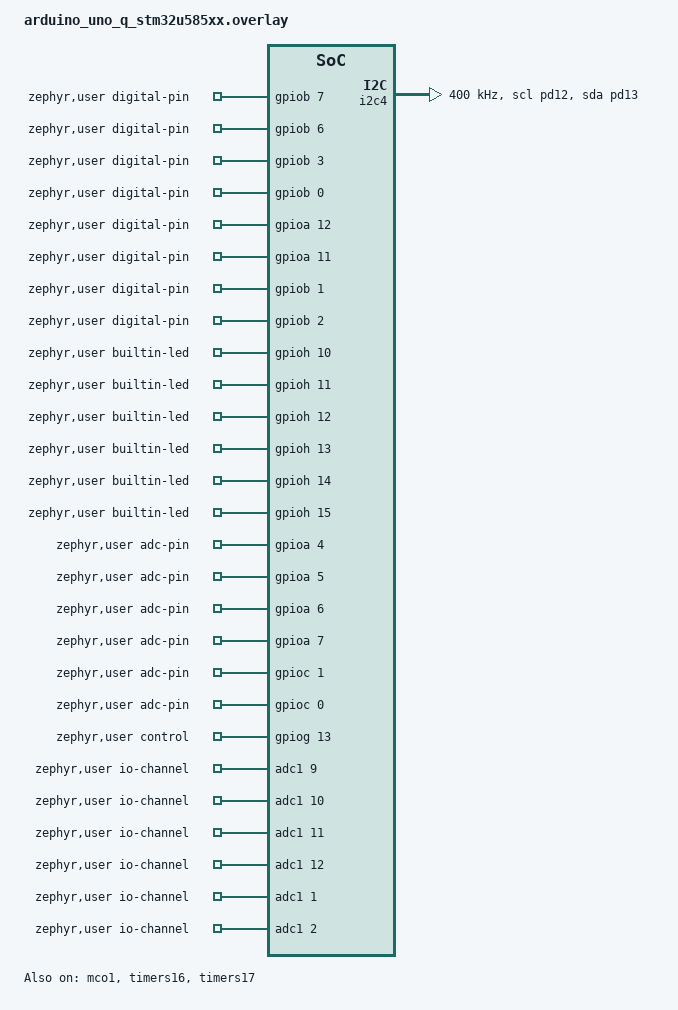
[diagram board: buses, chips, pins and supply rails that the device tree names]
&i2c4 {
	status = "okay";
	pinctrl-0 = <&i2c4_scl_pd12 &i2c4_sda_pd13>;
	pinctrl-1 = <&i2c4_scl_pf14 &i2c4_sda_pf15>;
	pinctrl-names = "default", "sleep"; /* TODO: sleep is jmisc mux */
	clock-frequency = <I2C_BITRATE_FAST>;

/*
	gc2145: gc2145@3c {
		status = "okay";
		compatible = "galaxycore,gc2145";
		reg = <0x3c>;
		reset-gpios = <&gpioa 10 GPIO_ACTIVE_LOW>;
		pwdn-gpios = <&gpiod 2 GPIO_ACTIVE_LOW>;

		port {
			gc2145_ep_out: endpoint {
				remote-endpoint = <&dcmi_ep_in>;
			};
		};
	};
*/
};

/* clock from HSI48 */
&mco1 {
	status = "okay";
	clocks = <&rcc STM32_SRC_HSI48 MCO1_SEL(8)>;
	prescaler = <MCO1_PRE(MCO_PRE_DIV_4)>;
	pinctrl-0 = <&rcc_mco_pa8>;
	pinctrl-names = "default";
};

/*
&dcmi {
	status = "okay";
	pinctrl-0 = <&dcmi_hsync_pd8 &dcmi_pixclk_pd9 &dcmi_vsync_pi5
				&dcmi_d0_pc6 &dcmi_d1_pc7 &dcmi_d2_pc8 &dcmi_d3_pc9
				&dcmi_d4_pe4 &dcmi_d5_pi4 &dcmi_d6_pi6 &dcmi_d7_pi7>;
	pinctrl-names = "default";
	dmas = <&gpdma1 12 86 (STM32_DMA_PERIPH_TO_MEMORY | STM32_DMA_PERIPH_NO_INC |
			STM32_DMA_MEM_INC | STM32_DMA_PERIPH_32BITS | STM32_DMA_MEM_32BITS |
			STM32_DMA_PRIORITY_HIGH) STM32_DMA_FIFO_1_4>;

	port {
		dcmi_ep_in: endpoint {
			remote-endpoint-label = "gc2145_ep_out";
			bus-width = <8>;
			hsync-active = <0>;
			vsync-active = <0>;
			pclk-sample = <0>;
		};
	};
};
*/

&flash0 {
	partitions {
		bootanimation: partition@90000 {
			reg = <0x090000 DT_SIZE_K(64)>;
		};
		user_sketch: partition@f0000 {
			reg = <0x0F0000 DT_SIZE_K(64)>;
		};
	};
};

&timers16 {
	status = "okay";
	st,prescaler = <4>;

	counter_servo: counter {
		status = "okay";
		label = "SERVO_COUNTER";
	};
};


&timers17 {
	status = "okay";
	st,prescaler = <4>;

	counter_matrix: counter {
		status = "okay";
		label = "LED_MATRIX_COUNTER";
	};
};

/ {
	zephyr,user {
		digital-pin-gpios = <&gpiob 7 GPIO_ACTIVE_HIGH>,        /* JDIGITAL */
				    <&gpiob 6 GPIO_ACTIVE_HIGH>,
				    <&gpiob 3 GPIO_ACTIVE_HIGH>,
				    <&gpiob 0 GPIO_ACTIVE_HIGH>,
				    <&gpioa 12 GPIO_ACTIVE_HIGH>,
				    <&gpioa 11 GPIO_ACTIVE_HIGH>,
				    <&gpiob 1 GPIO_ACTIVE_HIGH>,
				    <&gpiob 2 GPIO_ACTIVE_HIGH>,
				    <&gpiob 4 GPIO_ACTIVE_HIGH>,
				    <&gpiob 8 GPIO_ACTIVE_HIGH>,
				    <&gpiob 9 GPIO_ACTIVE_HIGH>,
				    <&gpiob 15 GPIO_ACTIVE_HIGH>,
				    <&gpiob 14 GPIO_ACTIVE_HIGH>,
				    <&gpiob 13 GPIO_ACTIVE_HIGH>,

				    <&gpioa 4 GPIO_ACTIVE_HIGH>,	/* ADCs */
				    <&gpioa 5 GPIO_ACTIVE_HIGH>,
				    <&gpioa 6 GPIO_ACTIVE_HIGH>,
				    <&gpioa 7 GPIO_ACTIVE_HIGH>,
				    <&gpioc 1 GPIO_ACTIVE_HIGH>,
				    <&gpioc 0 GPIO_ACTIVE_HIGH>,

				    <&gpiob 11 GPIO_ACTIVE_HIGH>,  /* D20 - PB11 */
				    <&gpiob 10 GPIO_ACTIVE_HIGH>,  /* D21 - PB10 */

				    <&gpioc 2 GPIO_ACTIVE_HIGH>,        /* JSPI */
				    <&gpioc 3 GPIO_ACTIVE_HIGH>,
				    <&gpiod 1 GPIO_ACTIVE_HIGH>,

				    <&gpioc 6 GPIO_ACTIVE_HIGH>,	/* JMISC */
				    <&gpiod 2 GPIO_ACTIVE_HIGH>,
				    <&gpioc 7 GPIO_ACTIVE_HIGH>,
				    <&gpioe 2 GPIO_ACTIVE_HIGH>,
				    <&gpioc 8 GPIO_ACTIVE_HIGH>,
				    <&gpioe 3 GPIO_ACTIVE_HIGH>,
				    <&gpioc 9 GPIO_ACTIVE_HIGH>,
				    <&gpioe 5 GPIO_ACTIVE_HIGH>,
				    <&gpioe 4 GPIO_ACTIVE_HIGH>,
				    <&gpioe 6 GPIO_ACTIVE_HIGH>,
				    <&gpioi 4 GPIO_ACTIVE_HIGH>,
				    <&gpioe 7 GPIO_ACTIVE_HIGH>,
				    <&gpioi 6 GPIO_ACTIVE_HIGH>,
				    <&gpioe 8 GPIO_ACTIVE_HIGH>,
				    <&gpioi 7 GPIO_ACTIVE_HIGH>,
				    <&gpiof 14 GPIO_ACTIVE_HIGH>,
				    <&gpiod 9 GPIO_ACTIVE_HIGH>,
				    <&gpiof 15 GPIO_ACTIVE_HIGH>,
				    <&gpioi 5 GPIO_ACTIVE_HIGH>,
				    <&gpioa 3 GPIO_ACTIVE_HIGH>,
				    <&gpiod 8 GPIO_ACTIVE_HIGH>,
				    <&gpioa 0 GPIO_ACTIVE_HIGH>,
				    <&gpioa 8 GPIO_ACTIVE_HIGH>,
				    <&gpioa 1 GPIO_ACTIVE_HIGH>,
				    <&gpioa 10 GPIO_ACTIVE_HIGH>,

				    <&gpioh 10 GPIO_ACTIVE_HIGH>,        /* LEDs */
				    <&gpioh 11 GPIO_ACTIVE_HIGH>,
				    <&gpioh 12 GPIO_ACTIVE_HIGH>,
				    <&gpioh 13 GPIO_ACTIVE_HIGH>,
				    <&gpioh 14 GPIO_ACTIVE_HIGH>,
				    <&gpioh 15 GPIO_ACTIVE_HIGH>,

				    <&gpiof 0 GPIO_ACTIVE_HIGH>,        /* LED matrix */
				    <&gpiof 1 GPIO_ACTIVE_HIGH>,
				    <&gpiof 2 GPIO_ACTIVE_HIGH>,
				    <&gpiof 3 GPIO_ACTIVE_HIGH>,
				    <&gpiof 4 GPIO_ACTIVE_HIGH>,
				    <&gpiof 5 GPIO_ACTIVE_HIGH>,
				    <&gpiof 6 GPIO_ACTIVE_HIGH>,
				    <&gpiof 7 GPIO_ACTIVE_HIGH>,
				    <&gpiof 8 GPIO_ACTIVE_HIGH>,
				    <&gpiof 9 GPIO_ACTIVE_HIGH>,
				    <&gpiof 10 GPIO_ACTIVE_HIGH>,
				    <&gpiog 13 GPIO_ACTIVE_HIGH>,       /* Internal SPI RDY */
				    <&gpioh 3 GPIO_ACTIVE_HIGH>;        /* BOOT0 */

		builtin-led-gpios = <&gpioh 10 GPIO_ACTIVE_HIGH>,
				    <&gpioh 11 GPIO_ACTIVE_HIGH>,
				    <&gpioh 12 GPIO_ACTIVE_HIGH>,
				    <&gpioh 13 GPIO_ACTIVE_HIGH>,
				    <&gpioh 14 GPIO_ACTIVE_HIGH>,
				    <&gpioh 15 GPIO_ACTIVE_HIGH>;

		pwm-pin-gpios =	<>;

		adc-pin-gpios =	<&gpioa 4 0>,
					<&gpioa 5 0>,
					<&gpioa 6 0>,
					<&gpioa 7 0>,
					<&gpioc 1 0>,
					<&gpioc 0 0>;

		serials = <&usart1>, <&lpuart1>;
		i2cs = <&i2c2>, <&i2c4>;
		spis = <&spi3>;
		pwms = <>;

		control-gpios = <&gpiog 13 GPIO_ACTIVE_HIGH>;    /* Internal SPI RDY */

		io-channels =	<&adc1 9>,
				<&adc1 10>,
				<&adc1 11>,
				<&adc1 12>,
				<&adc1 1>,
				<&adc1 2>;

		dac = <&dac1>;
		dac-channels = <1>, <2>;
		dac-resolution = <12>;
	};
};
